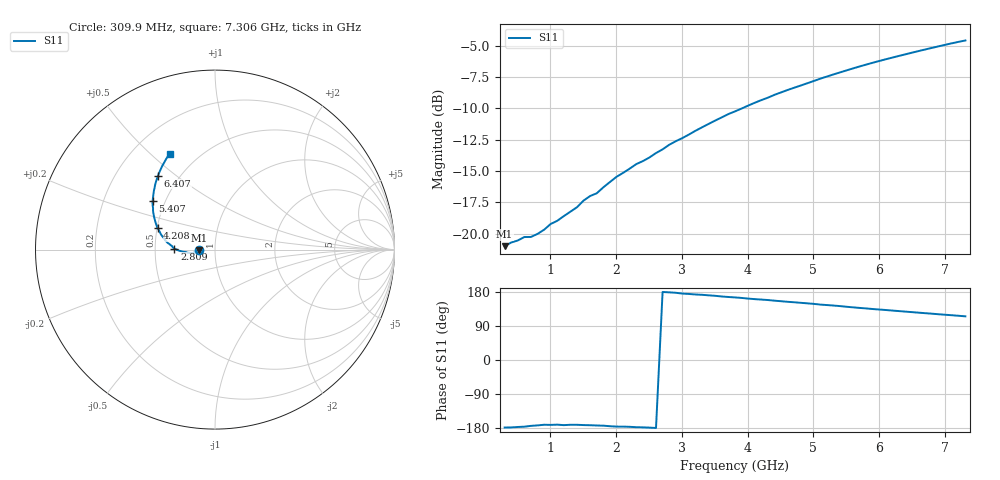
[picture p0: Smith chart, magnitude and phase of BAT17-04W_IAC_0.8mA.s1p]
! Infineon Technologies  Discrete & RF Semiconductors
! BAT17-04W
! IAC = 0.8 mA
! One-Port S-Parameters
# Hz  S  MA  R  50
!f  S11
!Hz  Mag  Ang
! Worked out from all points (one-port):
!   71 points, 309.9 MHz to 7.306 GHz, reference 50 ohm
!   lowest |S11| = -21.0 dB at 309.9 MHz (marker M1), VSWR 1.20, Z = 41.8 - j0.243 ohm
!   |S11| at or under -10 dB: start of sweep to 3.917 GHz
!   S11 on the Smith chart (normalised r, x): 309.9 MHz: 0.84, -0.00; 2.809 GHz: 0.63, +0.01; 4.208 GHz: 0.50, +0.14; 5.407 GHz: 0.43, +0.29; 6.407 GHz: 0.38, +0.43; 7.306 GHz: 0.35, +0.58
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3.0985e8  0.08904 -178.1
6.097e8  0.09685 -176.0
7.0965e8  0.09691 -173.8
8.096e8  0.09967 -172.6
9.0955e8  0.1036 -170.9
1.0095e9  0.1092 -171.2
1.2094e9  0.1174 -171.9
1.4093e9  0.1274 -171.0
1.50925e9  0.1354 -171.7
1.6092e9  0.1412 -172.2
1.70915e9  0.1448 -172.8
2.009e9  0.1684 -175.7
2.10895e9  0.1747 -175.8
2.30885e9  0.1893 -177.3
2.50875e9  0.2012 -178.5
2.8086e9  0.2261 178.5
3.0085e9  0.2405 175.3
3.30835e9  0.2656 172.1
3.8081e9  0.3074 165.1
4.2079e9  0.341 159.5
4.70765e9  0.3821 152.3
5.4073e9  0.4403 142.2
5.6072e9  0.4569 138.8
6.10695e9  0.497 131.8
6.4068e9  0.5203 127.5
6.50675e9  0.5283 126.2
6.8066e9  0.5518 122.1
7.30635e9  0.5901 115.2
